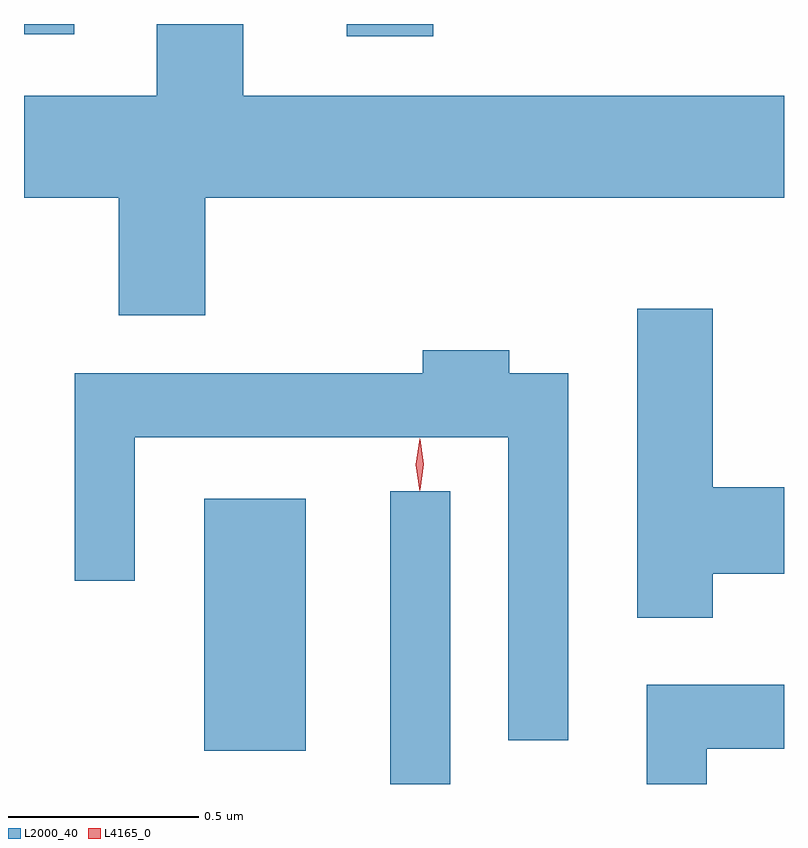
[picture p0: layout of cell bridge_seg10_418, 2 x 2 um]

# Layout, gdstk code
import gdstk
lib = gdstk.Library(unit=1e-6, precision=1e-09)
def R(c, l, rs):  # rectangles x0, y0, x1, y1
    for r in rs: c.add(gdstk.rectangle(r[:2], r[2:], *l))
def P(c, l, *ps):  # polygons
    for p in ps: c.add(gdstk.Polygon(p, *l))
L2000_40 = (2000, 40)
L4165_0 = (4165, 0)

bridge_seg10_418 = lib.new_cell('bridge_seg10_418')
R(bridge_seg10_418, L2000_40, [(1397.536,2096.833,1397.694,2097.603), (1397.046,2096.921,1397.314,2097.584), (1397.421,2098.801,1397.649,2098.833), (1396.572,2098.806,1396.704,2098.833)])
P(bridge_seg10_418, L2000_40, [(1397.049,2098.376),(1398.572,2098.376),(1398.572,2098.644),(1397.149,2098.644),(1397.149,2098.833),(1396.921,2098.833),(1396.921,2098.644),(1396.572,2098.644),(1396.572,2098.376),(1396.821,2098.376),(1396.821,2098.066),(1397.049,2098.066)],
  [(1398.384,2097.386),(1398.572,2097.386),(1398.572,2097.614),(1398.384,2097.614),(1398.384,2098.084),(1398.186,2098.084),(1398.186,2097.271),(1398.384,2097.271)],
  [(1398.004,2097.914),(1397.849,2097.914),(1397.849,2097.974),(1397.621,2097.974),(1397.621,2097.914),(1396.706,2097.914),(1396.706,2097.368),(1396.864,2097.368),(1396.864,2097.746),(1397.846,2097.746),(1397.846,2096.948),(1398.004,2096.948)],
  [(1398.369,2096.926),(1398.572,2096.926),(1398.572,2097.094),(1398.211,2097.094),(1398.211,2096.833),(1398.369,2096.833)])
P(bridge_seg10_418, L4165_0, [(1397.614,2097.607),(1397.614,2097.608),(1397.604,2097.674),(1397.614,2097.74),(1397.614,2097.74),(1397.615,2097.74),(1397.624,2097.674),(1397.615,2097.608)],
  [(1397.613,2097.604),(1397.613,2097.604),(1397.603,2097.673),(1397.613,2097.742),(1397.613,2097.743),(1397.614,2097.742),(1397.623,2097.673),(1397.614,2097.604)])

lib.write_gds('bridge_seg10_418.gds')
